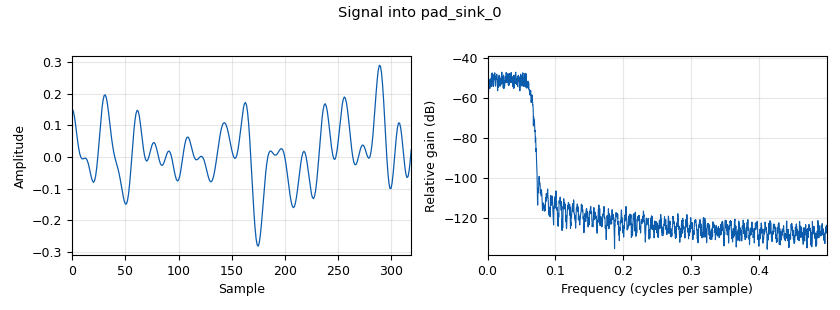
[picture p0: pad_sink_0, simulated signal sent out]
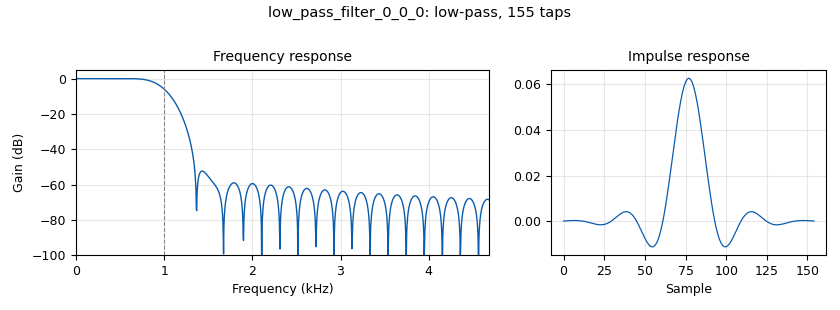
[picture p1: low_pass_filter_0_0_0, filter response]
options:
  parameters:
    generate_options: hb
    id: PassBandNoise
    output_language: python
    title: Pass Band Noise Block
  states: {}

blocks:
- name: analog_fastnoise_source_x_0
  id: analog_fastnoise_source_x
  parameters:
    amp: '1'
    noise_type: analog.GR_GAUSSIAN
    samples: '8192'
    seed: '0'
    type: float
  states: {}
- name: analog_sig_source_x_0_0
  id: analog_sig_source_x
  parameters:
    amp: '1'
    freq: frequency
    offset: '0'
    phase: '0'
    samp_rate: samp_rate
    type: float
    waveform: analog.GR_COS_WAVE
  states: {}
- name: bandwidth
  id: parameter
  parameters:
    label: Noise Bandwidth
    type: eng_float
    value: '1000'
  states: {}
- name: blocks_multiply_xx_0
  id: blocks_multiply_xx
  parameters:
    type: float
  states: {}
- name: frequency
  id: parameter
  parameters:
    label: Frequency
    type: eng_float
    value: '1000'
  states: {}
- name: low_pass_filter_0_0_0
  id: low_pass_filter
  parameters:
    cutoff_freq: bandwidth
    decim: '1'
    gain: '1'
    samp_rate: samp_rate
    type: fir_filter_fff
    width: bandwidth/2
    win: window.WIN_HAMMING
  states: {}
- name: pad_sink_0
  id: pad_sink
  parameters:
    label: out
    type: float
  states: {}
- name: samp_rate
  id: parameter
  parameters:
    label: Sample Rate
    type: eng_float
    value: '32000'
  states: {}

connections:
- [analog_fastnoise_source_x_0, '0', low_pass_filter_0_0_0, '0']
- [analog_sig_source_x_0_0, '0', blocks_multiply_xx_0, '1']
- [blocks_multiply_xx_0, '0', pad_sink_0, '0']
- [low_pass_filter_0_0_0, '0', blocks_multiply_xx_0, '0']

metadata:
  file_format: 1
  grc_version: 3.10.4.0
